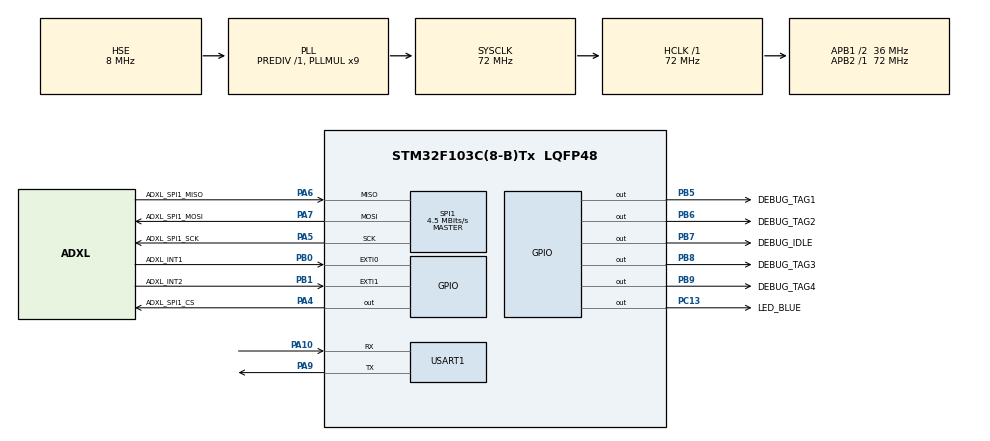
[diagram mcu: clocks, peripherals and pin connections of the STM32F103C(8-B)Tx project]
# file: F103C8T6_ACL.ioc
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FREERTOS.BinarySemaphores01=AccelDataReady,Dynamic,NULL;ReadyToPackBin,Dynamic,NULL
FREERTOS.Tasks01=defaultTask,-3,128,StartDefaultTask,Default,NULL,Dynamic,NULL,NULL;ReadAccel,0,128,StartReadAccel,As external,NULL,Dynamic,NULL,NULL;CheckTaps,0,128,StartCheckTaps,As external,NULL,Dynamic,NULL,NULL;SendAccel,-1,128,StartSendAccel,As external,NULL,Dynamic,NULL,NULL
FREERTOS.configUSE_APPLICATION_TASK_TAG=1
FREERTOS.configUSE_COUNTING_SEMAPHORES=1
FREERTOS.configUSE_IDLE_HOOK=1
FREERTOS.configUSE_NEWLIB_REENTRANT=1
Mcu.Family=STM32F1
Mcu.Name=STM32F103C(8-B)Tx
Mcu.Package=LQFP48
NVIC.EXTI0_IRQn=true\:5\:0\:false\:false\:true\:true\:true\:true\:true
NVIC.EXTI1_IRQn=true\:5\:0\:false\:false\:true\:true\:true\:true\:true
NVIC.PriorityGroup=NVIC_PRIORITYGROUP_4
NVIC.TIM1_UP_IRQn=true\:15\:0\:false\:false\:true\:false\:false\:true\:true
NVIC.TIM2_IRQn=true\:5\:0\:false\:false\:true\:true\:true\:true\:true
NVIC.TimeBase=TIM1_UP_IRQn
NVIC.TimeBaseIP=TIM1
PA10.Mode=Asynchronous
PA10.Signal=USART1_RX
PA13.Mode=Serial_Wire
PA13.Signal=SYS_JTMS-SWDIO
PA14.Mode=Serial_Wire
PA14.Signal=SYS_JTCK-SWCLK
PA4.GPIO_Label=ADXL_SPI1_CS
PA4.GPIO_Speed=GPIO_SPEED_FREQ_HIGH
PA4.PinState=GPIO_PIN_SET
PA4.Signal=GPIO_Output
PA5.GPIO_Label=ADXL_SPI1_SCK
PA5.Mode=Full_Duplex_Master
PA5.Signal=SPI1_SCK
PA6.GPIO_Label=ADXL_SPI1_MISO
PA6.Mode=Full_Duplex_Master
PA6.Signal=SPI1_MISO
PA7.GPIO_Label=ADXL_SPI1_MOSI
PA7.Mode=Full_Duplex_Master
PA7.Signal=SPI1_MOSI
PA9.Mode=Asynchronous
PA9.Signal=USART1_TX
PB0.GPIO_Label=ADXL_INT1
PB0.GPIO_PuPd=GPIO_PULLDOWN
PB0.Signal=GPXTI0
PB1.GPIO_Label=ADXL_INT2
PB1.Signal=GPXTI1
PB5.GPIO_Label=DEBUG_TAG1
PB5.Signal=GPIO_Output
PB6.GPIO_Label=DEBUG_TAG2
PB6.Signal=GPIO_Output
PB7.GPIO_Label=DEBUG_IDLE
PB7.Signal=GPIO_Output
PB8.GPIO_Label=DEBUG_TAG3
PB8.Signal=GPIO_Output
PB9.GPIO_Label=DEBUG_TAG4
PB9.Signal=GPIO_Output
PC13-TAMPER-RTC.GPIO_Label=LED_BLUE
PC13-TAMPER-RTC.Signal=GPIO_Output
PD0-OSC_IN.Mode=HSE-External-Oscillator
PD0-OSC_IN.Signal=RCC_OSC_IN
PD1-OSC_OUT.Mode=HSE-External-Oscillator
PD1-OSC_OUT.Signal=RCC_OSC_OUT
ProjectManager.HeapSize=0x200
ProjectManager.StackSize=0x400
ProjectManager.TargetToolchain=STM32CubeIDE
RCC.AHBFreq_Value=72000000
RCC.APB1CLKDivider=RCC_HCLK_DIV2
RCC.APB1Freq_Value=36000000
RCC.APB1TimFreq_Value=72000000
RCC.APB2Freq_Value=72000000
RCC.APB2TimFreq_Value=72000000
RCC.HCLKFreq_Value=72000000
RCC.PLLMUL=RCC_PLL_MUL9
RCC.PLLSourceVirtual=RCC_PLLSOURCE_HSE
RCC.SYSCLKFreq_VALUE=72000000
RCC.SYSCLKSource=RCC_SYSCLKSOURCE_PLLCLK
RCC.USBFreq_Value=72000000
SPI1.BaudRatePrescaler=SPI_BAUDRATEPRESCALER_16
SPI1.CLKPhase=SPI_PHASE_2EDGE
SPI1.CLKPolarity=SPI_POLARITY_HIGH
SPI1.CalculateBaudRate=4.5 MBits/s
SPI1.Direction=SPI_DIRECTION_2LINES
SPI1.Mode=SPI_MODE_MASTER
SPI1.VirtualType=VM_MASTER
TIM2.Period=2000
TIM2.Prescaler=7200-1
USART1.VirtualMode=VM_ASYNC
VP_FREERTOS_VS_CMSIS_V1.Mode=CMSIS_V1
VP_SYS_VS_tim1.Mode=TIM1
VP_TIM2_VS_ClockSourceINT.Mode=Internal
board=custom

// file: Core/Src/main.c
/* USER CODE BEGIN Header */
/**
  ******************************************************************************
  * @file           : main.c
  * @brief          : Main program body
  ******************************************************************************
  * @attention
  *
  * Copyright (c) 2024 STMicroelectronics.
  * All rights reserved.
  *
  * This software is licensed under terms that can be found in the LICENSE file
  * in the root directory of this software component.
  * If no LICENSE file comes with this software, it is provided AS-IS.
  *
  ******************************************************************************
  */
/* USER CODE END Header */
#include "main.h"
#include "cmsis_os.h"
#include "spi.h"
#include "tim.h"
#include "usart.h"
#include "gpio.h"

/* USER CODE BEGIN Includes */
#include "Accelerometer.h"
/* USER CODE END Includes */

void SystemClock_Config(void);
void MX_FREERTOS_Init(void);

int main(void)
{

  /* MCU Configuration--------------------------------------------------------*/

  /* Reset of all peripherals, Initializes the Flash interface and the Systick. */
  HAL_Init();

  /* Configure the system clock */
  SystemClock_Config();

  /* Initialize all configured peripherals */
  MX_GPIO_Init();
  MX_USART1_UART_Init();
  MX_TIM2_Init();
  MX_SPI1_Init();
  /* USER CODE BEGIN 2 */
  HAL_TIM_Base_Start_IT(&htim2);
  /* USER CODE END 2 */

  /* Call init function for freertos objects (in freertos.c) */
  MX_FREERTOS_Init();

  /* Start scheduler */
  osKernelStart();

  /* We should never get here as control is now taken by the scheduler */
  /* Infinite loop */
  while (1)
  {

  }
}

void SystemClock_Config(void)
{
  RCC_OscInitTypeDef RCC_OscInitStruct = {0};
  RCC_ClkInitTypeDef RCC_ClkInitStruct = {0};

  /** Initializes the RCC Oscillators according to the specified parameters
  * in the RCC_OscInitTypeDef structure.
  */
  RCC_OscInitStruct.OscillatorType = RCC_OSCILLATORTYPE_HSE;
  RCC_OscInitStruct.HSEState = RCC_HSE_ON;
  RCC_OscInitStruct.HSEPredivValue = RCC_HSE_PREDIV_DIV1;
  RCC_OscInitStruct.HSIState = RCC_HSI_ON;
  RCC_OscInitStruct.PLL.PLLState = RCC_PLL_ON;
  RCC_OscInitStruct.PLL.PLLSource = RCC_PLLSOURCE_HSE;
  RCC_OscInitStruct.PLL.PLLMUL = RCC_PLL_MUL9;
  if (HAL_RCC_OscConfig(&RCC_OscInitStruct) != HAL_OK)
  {
    Error_Handler();
  }

  /** Initializes the CPU, AHB and APB buses clocks
  */
  RCC_ClkInitStruct.ClockType = RCC_CLOCKTYPE_HCLK|RCC_CLOCKTYPE_SYSCLK
                              |RCC_CLOCKTYPE_PCLK1|RCC_CLOCKTYPE_PCLK2;
  RCC_ClkInitStruct.SYSCLKSource = RCC_SYSCLKSOURCE_PLLCLK;
  RCC_ClkInitStruct.AHBCLKDivider = RCC_SYSCLK_DIV1;
  RCC_ClkInitStruct.APB1CLKDivider = RCC_HCLK_DIV2;
  RCC_ClkInitStruct.APB2CLKDivider = RCC_HCLK_DIV1;

  if (HAL_RCC_ClockConfig(&RCC_ClkInitStruct, FLASH_LATENCY_2) != HAL_OK)
  {
    Error_Handler();
  }
}

/* USER CODE BEGIN 4 */
void TaskSwitchedIn(uint32_t tag)
{
	switch (tag)
	{
	case 1:
		DEBUG_TAG1_GPIO_Port->BSRR = DEBUG_TAG1_Pin;
		break;
	case 2:
		DEBUG_TAG2_GPIO_Port->BSRR = DEBUG_TAG2_Pin;
		break;
	case 3:
		DEBUG_TAG3_GPIO_Port->BSRR = DEBUG_TAG3_Pin;
		break;
	case 4:
		DEBUG_TAG4_GPIO_Port->BSRR = DEBUG_TAG4_Pin;
		break;
	}
}

void TaskSwitchedOut(uint32_t tag)
{
	switch (tag)
	{
	case 1:
		DEBUG_TAG1_GPIO_Port->BSRR = (uint32_t)DEBUG_TAG1_Pin << 16U;
		break;
	case 2:
		DEBUG_TAG2_GPIO_Port->BSRR = (uint32_t)DEBUG_TAG2_Pin << 16U;
		break;
	case 3:
		DEBUG_TAG3_GPIO_Port->BSRR = (uint32_t)DEBUG_TAG3_Pin << 16U;
		break;
	case 4:
		DEBUG_TAG4_GPIO_Port->BSRR = (uint32_t)DEBUG_TAG4_Pin << 16U;
		break;
	}
}

void vApplicationIdleHook (void)
{
	DEBUG_IDLE_GPIO_Port->BSRR = DEBUG_IDLE_Pin;
	__NOP();
	DEBUG_IDLE_GPIO_Port->BSRR = (uint32_t)DEBUG_IDLE_Pin << 16U;
}

/* USER CODE END 4 */

void HAL_TIM_PeriodElapsedCallback(TIM_HandleTypeDef *htim)
{
  if (htim->Instance == TIM1) {
    HAL_IncTick();
  }
  /* USER CODE BEGIN Callback 1 */
//  if (htim->Instance == TIM2) {
//
//  	}
  /* USER CODE END Callback 1 */
}

void Error_Handler(void)
{
  __disable_irq();
  while (1)
  {
  }
}

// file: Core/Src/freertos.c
/* USER CODE BEGIN Header */
/**
  ******************************************************************************
  * File Name          : freertos.c
  * Description        : Code for freertos applications
  ******************************************************************************
  * @attention
  *
  * Copyright (c) 2024 STMicroelectronics.
  * All rights reserved.
  *
  * This software is licensed under terms that can be found in the LICENSE file
  * in the root directory of this software component.
  * If no LICENSE file comes with this software, it is provided AS-IS.
  *
  ******************************************************************************
  */
/* USER CODE END Header */

#include "FreeRTOS.h"
#include "task.h"
#include "main.h"
#include "cmsis_os.h"

osThreadId defaultTaskHandle;
osThreadId ReadAccelHandle;
osThreadId CheckTapsHandle;
osThreadId SendAccelHandle;
osSemaphoreId AccelDataReadyHandle;
osSemaphoreId ReadyToPackBinHandle;

void StartDefaultTask(void const * argument);
extern void StartReadAccel(void const * argument);
extern void StartCheckTaps(void const * argument);
extern void StartSendAccel(void const * argument);

void MX_FREERTOS_Init(void); /* (MISRA C 2004 rule 8.1) */

/* GetIdleTaskMemory prototype (linked to static allocation support) */
void vApplicationGetIdleTaskMemory( StaticTask_t **ppxIdleTaskTCBBuffer, StackType_t **ppxIdleTaskStackBuffer, uint32_t *pulIdleTaskStackSize );

/* Hook prototypes */
void vApplicationIdleHook(void);

/* USER CODE BEGIN 2 */
__weak void vApplicationIdleHook( void )
{
   /* vApplicationIdleHook() will only be called if configUSE_IDLE_HOOK is set
   to 1 in FreeRTOSConfig.h. It will be called on each iteration of the idle
   task. It is essential that code added to this hook function never attempts
   to block in any way (for example, call xQueueReceive() with a block time
   specified, or call vTaskDelay()). If the application makes use of the
   vTaskDelete() API function (as this demo application does) then it is also
   important that vApplicationIdleHook() is permitted to return to its calling
   function, because it is the responsibility of the idle task to clean up
   memory allocated by the kernel to any task that has since been deleted. */
}
/* USER CODE END 2 */

/* USER CODE BEGIN GET_IDLE_TASK_MEMORY */
static StaticTask_t xIdleTaskTCBBuffer;
static StackType_t xIdleStack[configMINIMAL_STACK_SIZE];

void vApplicationGetIdleTaskMemory( StaticTask_t **ppxIdleTaskTCBBuffer, StackType_t **ppxIdleTaskStackBuffer, uint32_t *pulIdleTaskStackSize )
{
  *ppxIdleTaskTCBBuffer = &xIdleTaskTCBBuffer;
  *ppxIdleTaskStackBuffer = &xIdleStack[0];
  *pulIdleTaskStackSize = configMINIMAL_STACK_SIZE;
  /* place for user code */
}
/* USER CODE END GET_IDLE_TASK_MEMORY */

void MX_FREERTOS_Init(void) {

  /* Create the semaphores(s) */
  /* definition and creation of AccelDataReady */
  osSemaphoreDef(AccelDataReady);
  AccelDataReadyHandle = osSemaphoreCreate(osSemaphore(AccelDataReady), 1);

  /* definition and creation of ReadyToPackBin */
  osSemaphoreDef(ReadyToPackBin);
  ReadyToPackBinHandle = osSemaphoreCreate(osSemaphore(ReadyToPackBin), 1);

  /* Create the thread(s) */
  /* definition and creation of defaultTask */
  osThreadDef(defaultTask, StartDefaultTask, osPriorityIdle, 0, 128);
  defaultTaskHandle = osThreadCreate(osThread(defaultTask), NULL);

  /* definition and creation of ReadAccel */
  osThreadDef(ReadAccel, StartReadAccel, osPriorityNormal, 0, 128);
  ReadAccelHandle = osThreadCreate(osThread(ReadAccel), NULL);

  /* definition and creation of CheckTaps */
  osThreadDef(CheckTaps, StartCheckTaps, osPriorityNormal, 0, 128);
  CheckTapsHandle = osThreadCreate(osThread(CheckTaps), NULL);

  /* definition and creation of SendAccel */
  osThreadDef(SendAccel, StartSendAccel, osPriorityBelowNormal, 0, 128);
  SendAccelHandle = osThreadCreate(osThread(SendAccel), NULL);

}

void StartDefaultTask(void const * argument)
{
  /* USER CODE BEGIN StartDefaultTask */
	vTaskSetApplicationTaskTag(NULL, (void *) 4);
	/* Infinite loop */
  for(;;)
  {
	HAL_GPIO_TogglePin(GPIOC, GPIO_PIN_13);
    osDelay(1000);
  }
  /* USER CODE END StartDefaultTask */
}
